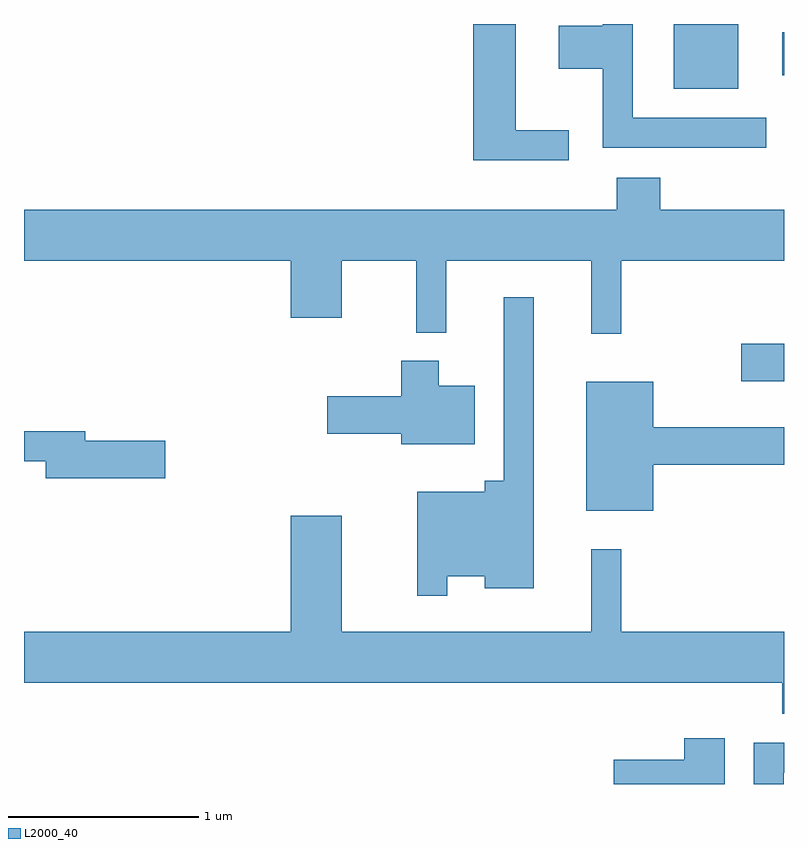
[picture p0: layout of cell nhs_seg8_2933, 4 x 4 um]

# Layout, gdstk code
import gdstk
lib = gdstk.Library(unit=1e-6, precision=1e-09)
def R(c, l, rs):  # rectangles x0, y0, x1, y1
    for r in rs: c.add(gdstk.rectangle(r[:2], r[2:], *l))
def P(c, l, *ps):  # polygons
    for p in ps: c.add(gdstk.Polygon(p, *l))
L2000_40 = (2000, 40)

nhs_seg8_2933 = lib.new_cell('nhs_seg8_2933')
R(nhs_seg8_2933, L2000_40, [(277.386,1822.461,277.611,1822.659), (277.031,1824.001,277.369,1824.342), (277.601,1824.071,277.611,1824.299)])
P(nhs_seg8_2933, L2000_40, [(276.478,1823.784),(276.199,1823.784),(276.199,1824.342),(275.976,1824.342),(275.976,1823.626),(276.478,1823.626)],
  [(277.518,1823.849),(276.814,1823.849),(276.814,1824.342),(276.656,1824.342),(276.656,1824.334),(276.426,1824.334),(276.426,1824.106),(276.656,1824.106),(276.656,1823.691),(277.518,1823.691)],
  [(276.754,1823.096),(277.611,1823.096),(277.611,1823.364),(276.959,1823.364),(276.959,1823.534),(276.731,1823.534),(276.731,1823.364),(273.611,1823.364),(273.611,1823.096),(275.016,1823.096),(275.016,1822.796),(275.284,1822.796),(275.284,1823.096),(275.676,1823.096),(275.676,1822.718),(275.834,1822.718),(275.834,1823.096),(276.596,1823.096),(276.596,1822.713),(276.754,1822.713)],
  [(275.839,1821.436),(276.036,1821.436),(276.036,1821.371),(276.294,1821.371),(276.294,1822.903),(276.136,1822.903),(276.136,1821.939),(276.036,1821.939),(276.036,1821.879),(275.681,1821.879),(275.681,1821.333),(275.839,1821.333)],
  [(275.984,1822.439),(275.794,1822.439),(275.794,1822.569),(275.596,1822.569),(275.596,1822.384),(275.206,1822.384),(275.206,1822.186),(275.596,1822.186),(275.596,1822.131),(275.984,1822.131)],
  [(276.924,1822.021),(277.611,1822.021),(277.611,1822.219),(276.924,1822.219),(276.924,1822.459),(276.571,1822.459),(276.571,1821.781),(276.924,1821.781)],
  [(274.354,1822.149),(273.934,1822.149),(273.934,1822.199),(273.611,1822.199),(273.611,1822.041),(273.726,1822.041),(273.726,1821.951),(274.354,1821.951)],
  [(277.611,1821.144),(276.754,1821.144),(276.754,1821.578),(276.596,1821.578),(276.596,1821.144),(275.284,1821.144),(275.284,1821.754),(275.016,1821.754),(275.016,1821.144),(273.611,1821.144),(273.611,1820.876),(277.601,1820.876),(277.601,1820.711),(277.611,1820.711)],
  [(277.299,1820.584),(277.086,1820.584),(277.086,1820.469),(276.716,1820.469),(276.716,1820.342),(277.299,1820.342)],
  [(277.609,1820.401),(277.611,1820.401),(277.611,1820.559),(277.451,1820.559),(277.451,1820.342),(277.609,1820.342)])

lib.write_gds('nhs_seg8_2933.gds')
